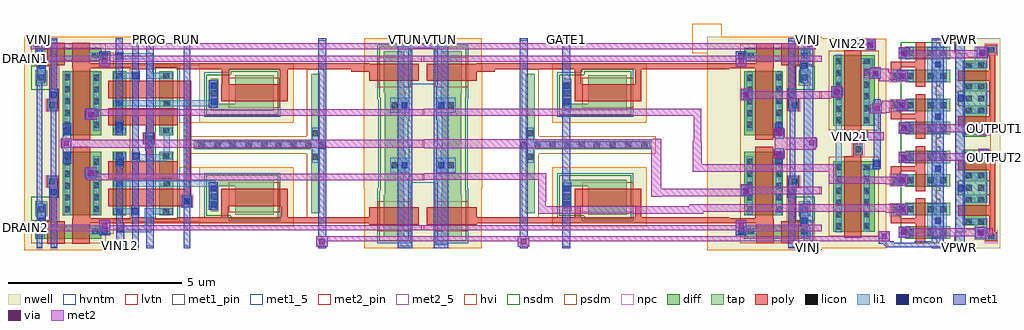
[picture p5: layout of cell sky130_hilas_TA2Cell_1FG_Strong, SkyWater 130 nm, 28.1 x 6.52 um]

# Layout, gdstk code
from math import pi, radians
import gdstk
lib = gdstk.Library(unit=1e-6, precision=1e-09)
def R(c, l, rs):  # rectangles x0, y0, x1, y1
    for r in rs: c.add(gdstk.rectangle(r[:2], r[2:], *l))
def A(c, l, x, y, w, h, nx, ny, dx, dy):  # array of equal rectangles
    R(c, l, [(x+i*dx, y+j*dy, x+i*dx+w, y+j*dy+h) for i in range(nx) for j in range(ny)])
nwell = (64, 20)
diff = (65, 20)
tap = (65, 44)
poly = (66, 20)
licon = (66, 44)
li1 = (67, 20)
mcon = (67, 44)
met1_5 = (68, 5)
met1_pin = (68, 16)
met1 = (68, 20)
via = (68, 44)
met2_5 = (69, 5)
met2_pin = (69, 16)
met2 = (69, 20)
hvi = (75, 20)
nsdm = (93, 44)
psdm = (94, 20)
npc = (95, 20)
hvntm = (125, 20)
lvtn = (125, 44)

sky130_hilas_li2m1 = lib.new_cell('sky130_hilas_li2m1')
R(sky130_hilas_li2m1, li1, [(-0.08,-0.05,0.11,0.18)])
R(sky130_hilas_li2m1, mcon, [(-0.07,-0.02,0.1,0.15)])
R(sky130_hilas_li2m1, met1, [(-0.1,-0.08,0.13,0.21)])

sky130_hilas_li2m2 = lib.new_cell('sky130_hilas_li2m2')
R(sky130_hilas_li2m2, li1, [(-0.13,-0.12,0.19,-0.09), (-0.13,-0.09,0.2,0.1), (-0.13,0.1,0.19,0.14)])
R(sky130_hilas_li2m2, mcon, [(-0.07,-0.08,0.1,0.09)])
R(sky130_hilas_li2m2, met1, [(-0.14,-0.15,0.18,0.17)])
R(sky130_hilas_li2m2, via, [(-0.055,-0.065,0.095,0.085)])
R(sky130_hilas_li2m2, met2, [(-0.14,-0.15,0.17,0.18)])

sky130_hilas_poly2li = lib.new_cell('sky130_hilas_poly2li')
R(sky130_hilas_poly2li, poly, [(-0.09,-0.14,0.18,0.19)])
R(sky130_hilas_poly2li, licon, [(-0.04,-0.06,0.13,0.11)])
R(sky130_hilas_poly2li, li1, [(-0.04,-0.14,0.13,0.19)])
R(sky130_hilas_poly2li, npc, [(-0.14,-0.16,0.23,0.21)])

sky130_hilas_pfetmirror0 = lib.new_cell('sky130_hilas_pFETmirror02')
R(sky130_hilas_pfetmirror0, nwell, [(-0.61,0.89,0.67,3.73)])
R(sky130_hilas_pfetmirror0, diff, [(-0.4,1.36,0.28,2.24), (-0.4,2.65,0.28,3.54)])
R(sky130_hilas_pfetmirror0, tap, [(-0.4,2.24,0.28,2.65)])
R(sky130_hilas_pfetmirror0, poly, [(0.36,1.12,0.53,1.64), (-0.53,1.64,0.53,1.94), (0.36,1.94,0.53,2.95), (-0.53,2.95,0.53,3.25)])
R(sky130_hilas_pfetmirror0, licon, [(-0.315,1.4,-0.145,1.57), (0.045,1.4,0.215,1.57), (-0.315,2.01,-0.145,2.18), (0.045,2.01,0.215,2.18), (-0.315,2.36,-0.145,2.53), (0.045,2.36,0.215,2.53), (-0.32,2.715,-0.15,2.885), (0.045,2.715,0.215,2.885), (-0.325,3.315,-0.155,3.485), (0.035,3.315,0.205,3.485)])
R(sky130_hilas_pfetmirror0, li1, [(-0.05,0.95,0.28,1.12), (-0.05,1.12,0.31,1.4), (-0.4,1.4,0.31,1.57), (-0.4,2.01,0.3,2.89), (-0.41,3.31,0.29,3.49)])
R(sky130_hilas_pfetmirror0, nsdm, [(-0.525,2.24,0.405,2.65)])
R(sky130_hilas_pfetmirror0, psdm, [(-0.525,1.235,0.405,2.24), (-0.525,2.65,0.405,3.665)])
sky130_hilas_pfetmirror0.add(gdstk.Reference(sky130_hilas_poly2li, (0.39,1.08), rotation=3*pi/2))

sky130_hilas_nfet03 = lib.new_cell('sky130_hilas_nFET03')
R(sky130_hilas_nfet03, diff, [(-0.31,-0.06,0.58,0.29)])
R(sky130_hilas_nfet03, poly, [(0,-0.19,0.27,0.42)])
R(sky130_hilas_nfet03, licon, [(-0.245,0.03,-0.075,0.2), (0.345,0.03,0.515,0.2)])
R(sky130_hilas_nfet03, li1, [(-0.26,-0.05,-0.06,0.28), (0.33,-0.05,0.53,0.28)])
R(sky130_hilas_nfet03, nsdm, [(-0.435,-0.185,0.705,0.415)])

sky130_hilas_nmirror03 = lib.new_cell('sky130_hilas_nMirror03')
R(sky130_hilas_nmirror03, diff, [(-0.05,0.07,0.84,0.08), (-0.05,1.09,0.84,1.1)])
R(sky130_hilas_nmirror03, tap, [(0.84,0.07,1.25,0.43), (0.84,0.74,1.25,1.1)])
R(sky130_hilas_nmirror03, poly, [(0.26,-0.06,0.53,-0.05), (0.26,0.07,0.53,0.08), (-0.46,0.43,-0.19,0.51), (-0.46,0.51,0.26,0.56), (-0.46,0.56,0.53,0.66), (0.26,1.09,0.53,1.1), (0.26,1.22,0.53,1.23)])
R(sky130_hilas_nmirror03, licon, [(0.96,0.17,1.13,0.34), (0.96,0.83,1.13,1)])
R(sky130_hilas_nmirror03, li1, [(0.79,0.09,1.14,0.42), (0.59,0.42,1.14,0.75), (0.59,0.75,0.78,0.76), (0.79,0.75,1.14,1.08)])
R(sky130_hilas_nmirror03, met2, [(-0.59,0.14,-0.26,0.35)])
R(sky130_hilas_nmirror03, nsdm, [(-0.175,-0.055,0.84,0.205), (-0.175,0.555,0.84,0.615), (-0.175,0.965,0.84,1.225)])
R(sky130_hilas_nmirror03, psdm, [(0.84,-0.055,1.375,0.08), (0.715,0.08,1.375,1.09), (0.84,1.09,1.375,1.225)])
sky130_hilas_nmirror03.add(gdstk.Reference(sky130_hilas_li2m1, (0.88,0.52)))
sky130_hilas_nmirror03.add(gdstk.Reference(sky130_hilas_li2m2, (-0.15,0.25)))
sky130_hilas_nmirror03.add(gdstk.Reference(sky130_hilas_li2m2, (-0.1,0.9)))
sky130_hilas_nmirror03.add(gdstk.Reference(sky130_hilas_poly2li, (-0.37,0.24)))
sky130_hilas_nmirror03.add(gdstk.Reference(sky130_hilas_nfet03, (0.26,0.14)))
sky130_hilas_nmirror03.add(gdstk.Reference(sky130_hilas_nfet03, (0.26,0.8)))

sky130_hilas_dualtacore0 = lib.new_cell('sky130_hilas_DualTACore01')
R(sky130_hilas_dualtacore0, met1, [(-0.41,-0.22,-0.07,5.5), (0.26,-0.21,0.53,5.49)])
R(sky130_hilas_dualtacore0, met2_5, [(1.44,2.93,1.55,3.16)])
R(sky130_hilas_dualtacore0, met2, [(-1.37,-0.06,1.34,0.17), (-1.36,2.11,1.55,2.33), (-1.1,2.93,1.55,3.16), (-1.36,5.07,1.18,5.3)])
A(sky130_hilas_dualtacore0, nsdm, -1.305, 1.025, 1.015, 0.22, 1, 3, 0, 1.5)
R(sky130_hilas_dualtacore0, psdm, [(0.245,0.05,0.585,0.125), (0.245,0.125,0.355,1.025), (-0.29,1.025,0.355,1.245), (0.245,1.245,0.355,2.525), (-0.29,2.525,0.355,2.555), (-0.29,2.555,1.285,2.685), (-0.29,2.685,0.355,2.745), (0.245,2.745,0.355,4.025), (-0.29,4.025,0.355,4.245), (0.245,4.245,0.355,5.115), (0.245,5.115,0.605,5.205)])
sky130_hilas_dualtacore0.add(gdstk.Reference(sky130_hilas_li2m1, (0.41,1.26)))
sky130_hilas_dualtacore0.add(gdstk.Reference(sky130_hilas_li2m2, (1.06,2.28)))
sky130_hilas_dualtacore0.add(gdstk.Reference(sky130_hilas_li2m2, (0.98,0.03)))
sky130_hilas_dualtacore0.add(gdstk.Reference(sky130_hilas_pfetmirror0, (0.88,-1.11)))
sky130_hilas_dualtacore0.add(gdstk.Reference(sky130_hilas_nmirror03, (-1.13,1.3)))
sky130_hilas_dualtacore0.add(gdstk.Reference(sky130_hilas_nmirror03, (-1.13,0.97), x_reflection=True))
sky130_hilas_dualtacore0.add(gdstk.Reference(sky130_hilas_li2m1, (0.41,3.85)))
sky130_hilas_dualtacore0.add(gdstk.Reference(sky130_hilas_li2m2, (1.07,3)))
sky130_hilas_dualtacore0.add(gdstk.Reference(sky130_hilas_li2m2, (1.02,5.22)))
sky130_hilas_dualtacore0.add(gdstk.Reference(sky130_hilas_pfetmirror0, (0.88,6.35), x_reflection=True))
sky130_hilas_dualtacore0.add(gdstk.Reference(sky130_hilas_nmirror03, (-1.13,3.97), x_reflection=True))
sky130_hilas_dualtacore0.add(gdstk.Reference(sky130_hilas_nmirror03, (-1.13,4.3)))
sky130_hilas_dualtacore0.add(gdstk.Label('output1', (1.495,3.045), layer=69, texttype=5))

sky130_hilas_m12m2 = lib.new_cell('sky130_hilas_m12m2')
R(sky130_hilas_m12m2, met1, [(-0.06,-0.1,0.2,0.22)])
R(sky130_hilas_m12m2, via, [(-0.005,-0.015,0.145,0.135)])
R(sky130_hilas_m12m2, met2, [(-0.09,-0.07,0.23,0.19)])

sky130_hilas_ptransistor = lib.new_cell('sky130_hilas_pTransistorVert01')
R(sky130_hilas_ptransistor, nwell, [(-3.63,-4.44,-1.77,-1.45)])
R(sky130_hilas_ptransistor, diff, [(-3.29,-3.96,-2.1,-1.93)])
R(sky130_hilas_ptransistor, poly, [(-2.98,-4.11,-2.48,-1.75)])
A(sky130_hilas_ptransistor, licon, -2.41, -3.88, 0.17, 0.17, 1, 6, 0, 0.34)
A(sky130_hilas_ptransistor, licon, -3.22, -3.87, 0.17, 0.17, 1, 6, 0, 0.34)
R(sky130_hilas_ptransistor, li1, [(-3.22,-3.97,-3.04,-1.92), (-2.49,-3.88,-2.16,-3.71), (-2.41,-3.71,-2.24,-1.93)])
R(sky130_hilas_ptransistor, hvi, [(-3.63,-4.44,-1.77,-1.45)])
R(sky130_hilas_ptransistor, psdm, [(-3.415,-4.085,-1.975,-1.805)])

c_sky130_hilas_ptransistor = lib.new_cell('sky130_hilas_pTransistorPair')
R(c_sky130_hilas_ptransistor, nwell, [(2.67,-1.69,3.12,-1.46), (1.33,-1.4,3.19,-1.33)])
R(c_sky130_hilas_ptransistor, poly, [(2.27,-4.07,2.48,-4.06), (2.25,-1.04,2.48,-1)])
R(c_sky130_hilas_ptransistor, li1, [(2.49,-4.35,2.56,-4.09), (2.72,-3.66,2.8,-3.52), (2.72,-3.52,2.79,-3.5), (1.74,-1.92,1.92,-0.86), (2.35,-1.46,2.52,-1.33), (2.47,-1.33,2.52,-1.2), (2.79,-0.78,2.87,-0.7), (2.79,-0.7,3.01,-0.61)])
R(c_sky130_hilas_ptransistor, met1, [(2.83,-2.65,3.04,-0.88)])
R(c_sky130_hilas_ptransistor, met2, [(2.01,-4.38,2.89,-4.13), (2.55,-3.52,3.1,-3.27), (2.73,-2.49,3.2,-2.24), (2.25,-1.7,2.68,-1.69), (2.25,-1.69,3.12,-1.46)])
R(c_sky130_hilas_ptransistor, hvi, [(1.33,-1.4,3.19,-1.34)])
c_sky130_hilas_ptransistor.add(gdstk.Reference(sky130_hilas_m12m2, (2.87,-2.44)))
c_sky130_hilas_ptransistor.add(gdstk.Reference(sky130_hilas_li2m2, (2.9,-3.38), rotation=pi))
c_sky130_hilas_ptransistor.add(gdstk.Reference(sky130_hilas_li2m2, (2.48,-1.59)))
c_sky130_hilas_ptransistor.add(gdstk.Reference(sky130_hilas_li2m2, (2.75,-4.21), rotation=pi))
c_sky130_hilas_ptransistor.add(gdstk.Reference(sky130_hilas_li2m2, (1.75,-2.87)))
c_sky130_hilas_ptransistor.add(gdstk.Reference(sky130_hilas_ptransistor, (4.96,0.05)))
c_sky130_hilas_ptransistor.add(gdstk.Reference(sky130_hilas_poly2li, (2.36,-4.26)))
c_sky130_hilas_ptransistor.add(gdstk.Reference(sky130_hilas_li2m1, (2.91,-0.85)))
c_sky130_hilas_ptransistor.add(gdstk.Reference(sky130_hilas_ptransistor, (4.96,3.1)))
c_sky130_hilas_ptransistor.add(gdstk.Reference(sky130_hilas_poly2li, (2.34,-1.23)))

sky130_hilas_tuncap01 = lib.new_cell('sky130_hilas_TunCap01')
R(sky130_hilas_tuncap01, nwell, [(-14.51,-4,-12.78,-2.1)])
R(sky130_hilas_tuncap01, tap, [(-13.94,-3.67,-13.35,-2.47)])
R(sky130_hilas_tuncap01, poly, [(-14.36,-3.33,-12.93,-2.83)])
R(sky130_hilas_tuncap01, hvi, [(-14.51,-4,-12.78,-2.1)])
R(sky130_hilas_tuncap01, nsdm, [(-14.065,-3.795,-13.225,-2.345)])
R(sky130_hilas_tuncap01, hvntm, [(-14.125,-3.855,-13.165,-2.285)])
R(sky130_hilas_tuncap01, lvtn, [(-14.12,-3.51,-13.17,-2.65)])

sky130_hilas_wellcontact = lib.new_cell('sky130_hilas_wellContact')
R(sky130_hilas_wellcontact, nwell, [(-14.48,-4.4,-12.75,-2.56)])
R(sky130_hilas_wellcontact, tap, [(-13.94,-4.05,-13.35,-3.31)])
R(sky130_hilas_wellcontact, licon, [(-13.735,-3.82,-13.565,-3.65)])
R(sky130_hilas_wellcontact, li1, [(-14.06,-3.95,-13.51,-3.52)])
R(sky130_hilas_wellcontact, mcon, [(-14.01,-3.82,-13.84,-3.65)])
R(sky130_hilas_wellcontact, met1, [(-14.12,-4.41,-13.73,-2.55)])
R(sky130_hilas_wellcontact, hvi, [(-14.48,-4.4,-12.75,-2.56)])
R(sky130_hilas_wellcontact, nsdm, [(-14.065,-4.175,-13.225,-3.185)])

sky130_hilas_fgvaractorc = lib.new_cell('sky130_hilas_FGVaractorCapacitor02')
R(sky130_hilas_fgvaractorc, nwell, [(-10.05,-3.8,-7.33,-2.15), (-10.05,-2.15,-7.34,-2.11)])
R(sky130_hilas_fgvaractorc, tap, [(-9.01,-3.47,-7.9,-2.65), (-9.72,-3.37,-9.5,-2.65), (-9.72,-2.65,-7.9,-2.46)])
R(sky130_hilas_fgvaractorc, poly, [(-9.41,-3.22,-7.49,-2.72)])
R(sky130_hilas_fgvaractorc, licon, [(-9.715,-3.04,-9.545,-2.87)])
R(sky130_hilas_fgvaractorc, li1, [(-9.75,-3.28,-9.52,-2.59)])
R(sky130_hilas_fgvaractorc, mcon, [(-9.72,-3.25,-9.55,-3.08), (-9.72,-2.8,-9.55,-2.63)])
R(sky130_hilas_fgvaractorc, met1, [(-9.77,-3.33,-9.51,-2.54)])
R(sky130_hilas_fgvaractorc, hvi, [(-10.05,-3.8,-7.33,-2.15), (-10.05,-2.15,-7.34,-2.11)])
R(sky130_hilas_fgvaractorc, nsdm, [(-9.135,-3.595,-7.775,-3.495), (-9.845,-3.495,-7.775,-2.335)])
R(sky130_hilas_fgvaractorc, hvntm, [(-9.195,-3.655,-7.715,-3.555), (-9.905,-3.555,-7.715,-2.275)])
R(sky130_hilas_fgvaractorc, lvtn, [(-9.19,-3.4,-7.72,-2.54)])

sky130_hilas_horiztransc = lib.new_cell('sky130_hilas_horizTransCell01')
R(sky130_hilas_horiztransc, nwell, [(-3.63,0.42,-0.33,3.59)])
R(sky130_hilas_horiztransc, diff, [(-2.56,0.75,-0.66,1.11), (-2.56,1.42,-1.45,3.26)])
R(sky130_hilas_horiztransc, tap, [(-1,1.39,-0.66,1.83)])
R(sky130_hilas_horiztransc, poly, [(-2.22,0.62,-1.72,1.19), (-1.5,0.62,-1,1.25), (-4.76,1.19,-1.72,1.33), (-1.29,1.25,-1,1.27), (-1.29,1.27,-1.06,1.93), (-4.76,1.33,-1.73,1.34), (-4.76,1.34,-3,1.36), (-2.24,1.34,-1.73,3.39), (-1.33,1.93,-1.06,2.22), (-1.33,2.22,-0.98,2.56)])
A(sky130_hilas_horiztransc, licon, -1.66, 1.51, 0.17, 0.17, 1, 5, 0, 0.34)
A(sky130_hilas_horiztransc, licon, -2.49, 1.52, 0.17, 0.17, 1, 5, 0, 0.34)
R(sky130_hilas_horiztransc, licon, [(-2.465,0.88,-2.295,1.05), (-0.915,0.88,-0.745,1.05), (-0.915,1.515,-0.745,1.685), (-1.2,2.31,-1.03,2.48)])
R(sky130_hilas_horiztransc, li1, [(-0.93,0.8,-0.73,1.15), (-2.74,0.88,-2.21,1.05), (-0.93,1.15,-0.72,1.18), (-0.94,1.18,-0.72,1.76), (-1.66,1.43,-1.49,3.04), (-2.49,1.44,-2.32,3.13), (-0.93,1.76,-0.72,1.77), (-1.29,1.93,-1.1,1.94), (-1.29,1.94,-1.09,2.23), (-1.3,2.23,-1.01,2.56), (-1.66,3.04,-1.48,3.23)])
R(sky130_hilas_horiztransc, mcon, [(-2.735,0.88,-2.565,1.05), (-0.92,1.18,-0.75,1.35), (-1.275,2.01,-1.105,2.18), (-1.655,3.05,-1.485,3.22)])
R(sky130_hilas_horiztransc, met1, [(-1.29,0.48,-1.1,1.93), (-0.85,0.48,-0.69,1.12), (-2.81,0.85,-2.5,1.29), (-0.96,1.12,-0.69,1.67), (-0.96,1.67,-0.68,1.72), (-0.85,1.72,-0.68,1.81), (-0.85,1.81,-0.69,3.5), (-1.29,1.93,-1.07,1.96), (-1.31,1.96,-1.06,2.23), (-1.3,2.23,-1.06,2.24), (-1.3,2.24,-1.07,2.48), (-1.26,2.48,-1.1,3.5), (-1.69,2.91,-1.45,3.29)])
R(sky130_hilas_horiztransc, via, [(-2.725,1.055,-2.575,1.205)])
R(sky130_hilas_horiztransc, met2, [(-2.81,0.96,-2.5,0.97), (-2.81,0.97,-0.33,1.15), (-2.81,1.15,-2.5,1.29)])
R(sky130_hilas_horiztransc, hvi, [(-3.63,0.42,-0.33,3.59)])
R(sky130_hilas_horiztransc, nsdm, [(-1.125,1.265,-0.535,1.955)])
R(sky130_hilas_horiztransc, psdm, [(-2.685,0.625,-0.535,1.235), (-2.685,1.235,-1.325,3.385)])
R(sky130_hilas_horiztransc, npc, [(-1.3,2.21,-0.93,2.58)])

sky130_hilas_fgbias2x1ce = lib.new_cell('sky130_hilas_FGBias2x1cell')
R(sky130_hilas_fgbias2x1ce, nwell, [(-3.37,-2.42,-2.81,0), (6.61,2.19,6.8,2.22), (4.26,2.22,7.57,2.23)])
R(sky130_hilas_fgbias2x1ce, tap, [(-0.95,-2.81,-0.7,-0.97), (-3.37,-2.42,-2.81,0), (-0.95,-0.97,2.67,-0.72), (-0.95,-0.72,-0.7,1.21)])
R(sky130_hilas_fgbias2x1ce, poly, [(-2.8,-3.1,3.31,-2.93), (0.46,-2.93,0.63,-2.6), (2.2,-2.93,2.37,-2.6), (2.2,0.9,2.37,1.34), (0.45,0.91,0.64,1.34), (-2.37,1.26,-1.85,1.34), (-2.37,1.34,3.32,1.51)])
R(sky130_hilas_fgbias2x1ce, licon, [(-0.91,-1.27,-0.74,-1.1), (-0.7,-0.93,-0.53,-0.76), (-0.27,-0.93,-0.1,-0.76), (0.17,-0.93,0.34,-0.76), (0.57,-0.93,0.74,-0.76), (1.01,-0.93,1.18,-0.76), (1.91,-0.93,2.08,-0.76), (2.37,-0.93,2.54,-0.76), (1.47,-0.92,1.64,-0.75), (-0.91,-0.59,-0.74,-0.42)])
R(sky130_hilas_fgbias2x1ce, li1, [(0.11,-1.97,0.34,-1.93), (-0.92,-1.35,-0.73,-0.93), (-0.92,-0.93,2.63,-0.75), (-0.92,-0.75,-0.73,-0.34)])
R(sky130_hilas_fgbias2x1ce, met1_pin, [(-3.61,-3.82,-3.19,-3.7), (-1.13,-3.82,-0.9,-3.76), (0.09,-3.82,0.32,-3.76), (6.61,-3.82,6.8,-3.77), (7.05,-3.82,7.33,-3.77), (0.09,2.15,0.32,2.23), (-3.61,2.16,-3.19,2.23), (-1.13,2.16,-0.9,2.23), (7.05,2.16,7.33,2.23), (6.61,2.19,6.8,2.23)])
R(sky130_hilas_fgbias2x1ce, met1, [(-3.61,-3.82,-3.19,2.23), (-1.13,-3.82,-0.9,2.23), (0.09,-3.82,0.32,2.23), (6.61,-3.82,6.8,-3.77), (7.05,-3.82,7.33,2.23), (6.61,2.19,6.8,2.23)])
R(sky130_hilas_fgbias2x1ce, met2_pin, [(-3.96,-3.3,-3.9,-3.15), (7.5,-2.26,7.57,-2.05), (7.49,0.49,7.57,0.71), (-3.96,1.55,-3.89,1.73)])
R(sky130_hilas_fgbias2x1ce, met2, [(-3.96,-3.3,5.14,-3.2), (-3.96,-3.2,5.26,-3.15), (5.1,-3.15,5.26,-3.13), (5.53,-2.26,7.57,-2.05), (6.22,-0.98,7.4,-0.63), (5.54,0.49,7.57,0.71), (-3.96,1.55,5.16,1.73)])
R(sky130_hilas_fgbias2x1ce, hvi, [(-3.555,-2.605,-2.625,0.185), (3.845,1.805,4.27,2.28), (3.845,2.28,4.685,2.645)])
R(sky130_hilas_fgbias2x1ce, nsdm, [(-3.495,-2.545,-2.685,-2.155), (-3.505,-2.155,-2.685,-1.865), (-3.495,-1.865,-2.685,0.125)])
R(sky130_hilas_fgbias2x1ce, psdm, [(-1.075,-2.935,-0.575,-1.095), (-1.075,-1.095,2.795,-0.595), (5.215,-0.905,6.575,-0.685), (-1.075,-0.595,-0.575,1.335)])
R(sky130_hilas_fgbias2x1ce, hvntm, [(-3.565,-2.095,-2.625,-1.925), (-3.585,-1.925,-2.625,0.475), (-3.585,0.475,-3.565,0.915)])
sky130_hilas_fgbias2x1ce.add(gdstk.Reference(sky130_hilas_tuncap01, (10.56,0.19)))
sky130_hilas_fgbias2x1ce.add(gdstk.Reference(sky130_hilas_tuncap01, (10.56,4.33)))
sky130_hilas_fgbias2x1ce.add(gdstk.Reference(sky130_hilas_li2m1, (-1.03,-0.92)))
sky130_hilas_fgbias2x1ce.add(gdstk.Reference(sky130_hilas_wellcontact, (10.54,2.31)))
sky130_hilas_fgbias2x1ce.add(gdstk.Reference(sky130_hilas_wellcontact, (10.54,4.04)))
sky130_hilas_fgbias2x1ce.add(gdstk.Reference(sky130_hilas_fgvaractorc, (9.86,0.62)))
sky130_hilas_fgbias2x1ce.add(gdstk.Reference(sky130_hilas_fgvaractorc, (9.86,-2.31), x_reflection=True))
sky130_hilas_fgbias2x1ce.add(gdstk.Reference(sky130_hilas_horiztransc, (7.9,-4.29)))
sky130_hilas_fgbias2x1ce.add(gdstk.Reference(sky130_hilas_horiztransc, (7.9,2.7), x_reflection=True))
sky130_hilas_fgbias2x1ce.add(gdstk.Reference(sky130_hilas_m12m2, (6.27,-1.16)))
sky130_hilas_fgbias2x1ce.add(gdstk.Reference(sky130_hilas_m12m2, (6.27,-0.56)))
sky130_hilas_fgbias2x1ce.add(gdstk.Reference(sky130_hilas_m12m2, (7.21,-0.84)))
sky130_hilas_fgbias2x1ce.add(gdstk.Reference(sky130_hilas_li2m2, (5.38,-2.16)))
sky130_hilas_fgbias2x1ce.add(gdstk.Reference(sky130_hilas_li2m2, (5.38,0.6)))
sky130_hilas_fgbias2x1ce.add(gdstk.Label('VTUN', (-3.4,2.195), layer=68, texttype=16))
sky130_hilas_fgbias2x1ce.add(gdstk.Label('VTUN', (-3.4,-3.76), layer=68, texttype=16))
sky130_hilas_fgbias2x1ce.add(gdstk.Label('VGND', (-1.015,2.195), layer=68, texttype=16))
sky130_hilas_fgbias2x1ce.add(gdstk.Label('VGND', (-1.015,-3.79), layer=68, texttype=16))
sky130_hilas_fgbias2x1ce.add(gdstk.Label('GATE_CONTROL', (0.205,2.19), layer=68, texttype=16))
sky130_hilas_fgbias2x1ce.add(gdstk.Label('GATE_CONTROL', (0.205,-3.79), layer=68, texttype=16))
sky130_hilas_fgbias2x1ce.add(gdstk.Label('DRAIN1', (-3.925,1.64), layer=69, texttype=16))
sky130_hilas_fgbias2x1ce.add(gdstk.Label('DRAIN4', (-3.93,-3.225), layer=69, texttype=16))
sky130_hilas_fgbias2x1ce.add(gdstk.Label('VINJ', (7.19,2.195), layer=68, texttype=16))
sky130_hilas_fgbias2x1ce.add(gdstk.Label('OUTPUT1', (7.53,0.6), layer=69, texttype=16))
sky130_hilas_fgbias2x1ce.add(gdstk.Label('OUTPUT2', (7.535,-2.155), layer=69, texttype=16))
sky130_hilas_fgbias2x1ce.add(gdstk.Label('GATECOL', (6.705,2.21), layer=68, texttype=16))
sky130_hilas_fgbias2x1ce.add(gdstk.Label('GATECOL', (6.705,-3.795), layer=68, texttype=16))
sky130_hilas_fgbias2x1ce.add(gdstk.Label('VINJ', (7.19,-3.795), layer=68, texttype=16))

sky130_hilas_poly2m1 = lib.new_cell('sky130_hilas_poly2m1')
R(sky130_hilas_poly2m1, poly, [(-0.09,-0.08,0.24,0.25)])
R(sky130_hilas_poly2m1, licon, [(-0.01,0,0.16,0.17)])
R(sky130_hilas_poly2m1, li1, [(-0.01,-0.2,0.16,-0.18), (-0.03,-0.18,0.18,0.25)])
R(sky130_hilas_poly2m1, mcon, [(-0.01,-0.2,0.16,-0.03)])
R(sky130_hilas_poly2m1, met1, [(-0.04,-0.26,0.19,0.03), (-0.03,0.03,0.19,0.25)])
R(sky130_hilas_poly2m1, npc, [(-0.11,-0.1,0.26,0.27)])

c_sky130_hilas_horiztransc = lib.new_cell('sky130_hilas_horizTransCell01a')
R(c_sky130_hilas_horiztransc, nwell, [(-3.64,0.42,-0.33,3.59)])
R(c_sky130_hilas_horiztransc, diff, [(-2.56,0.75,-0.66,1.11), (-4.63,1.42,-4.23,3.26), (-3.27,1.42,-2.88,3.26), (-2.56,1.42,-1.45,3.26)])
R(c_sky130_hilas_horiztransc, tap, [(-1,1.39,-0.66,1.83)])
R(c_sky130_hilas_horiztransc, poly, [(-2.22,0.6,-1.72,1.19), (-1.5,0.6,-1,1.25), (-4.76,1.19,-1.72,1.34), (-1.29,1.25,-1,1.27), (-1.29,1.27,-1.06,1.93), (-4.08,1.34,-3.42,1.36), (-2.24,1.34,-1.73,3.39), (-4.76,1.69,-2.75,2.19), (-1.33,1.93,-1.06,2.22), (-1.33,2.22,-1.04,2.23), (-1.33,2.23,-0.98,2.56), (-4.76,2.48,-2.75,2.98)])
A(c_sky130_hilas_horiztransc, licon, -3.16, 1.46, 0.17, 0.17, 1, 3, 0, 0.79)
A(c_sky130_hilas_horiztransc, licon, -1.66, 1.51, 0.17, 0.17, 1, 5, 0, 0.34)
A(c_sky130_hilas_horiztransc, licon, -2.49, 1.52, 0.17, 0.17, 1, 5, 0, 0.34)
R(c_sky130_hilas_horiztransc, licon, [(-2.465,0.88,-2.295,1.05), (-0.915,0.88,-0.745,1.05), (-4.515,1.46,-4.345,1.63), (-0.915,1.515,-0.745,1.685), (-4.52,2.25,-4.35,2.42), (-1.21,2.31,-1.04,2.48), (-4.515,3.04,-4.345,3.21)])
A(c_sky130_hilas_horiztransc, li1, -3.24, 1.46, 0.33, 0.17, 1, 3, 0, 0.79)
R(c_sky130_hilas_horiztransc, li1, [(-0.93,0.8,-0.73,1.15), (-2.74,0.88,-2.21,1.05), (-0.93,1.15,-0.72,1.18), (-0.94,1.18,-0.72,1.76), (-1.66,1.43,-1.49,3.04), (-2.49,1.44,-2.32,3.13), (-4.61,1.46,-4.26,1.63), (-0.93,1.76,-0.72,1.77), (-1.29,1.93,-1.1,1.94), (-1.29,1.94,-1.09,2.23), (-1.3,2.23,-1.03,2.56), (-4.61,2.25,-4.26,2.42), (-4.6,3.04,-4.26,3.21), (-1.66,3.04,-1.48,3.23)])
R(c_sky130_hilas_horiztransc, mcon, [(-2.735,0.88,-2.565,1.05), (-0.92,1.18,-0.75,1.35), (-1.275,2.01,-1.105,2.18), (-1.655,3.05,-1.485,3.22)])
R(c_sky130_hilas_horiztransc, met1, [(-1.29,0.48,-1.1,1.93), (-0.85,0.48,-0.69,1.12), (-2.81,0.85,-2.5,1.29), (-0.96,1.12,-0.69,1.67), (-0.96,1.67,-0.68,1.72), (-0.85,1.72,-0.68,1.81), (-0.85,1.81,-0.69,3.5), (-1.29,1.93,-1.07,1.96), (-1.31,1.96,-1.06,2.23), (-1.3,2.23,-1.06,2.24), (-1.3,2.24,-1.07,2.48), (-1.26,2.48,-1.1,3.5), (-1.69,2.91,-1.45,3.29)])
R(c_sky130_hilas_horiztransc, via, [(-2.725,1.055,-2.575,1.205)])
R(c_sky130_hilas_horiztransc, met2, [(-2.81,0.96,-2.5,0.97), (-2.81,0.97,-0.33,1.15), (-2.81,1.15,-2.5,1.29)])
R(c_sky130_hilas_horiztransc, hvi, [(-3.64,0.42,-0.33,1.235), (-4.815,1.235,-0.33,3.445), (-3.64,3.445,-0.33,3.59)])
R(c_sky130_hilas_horiztransc, nsdm, [(-1.125,1.265,-0.535,1.955), (-4.755,1.295,-4.105,3.385)])
R(c_sky130_hilas_horiztransc, psdm, [(-2.685,0.625,-0.535,0.885), (-2.91,0.885,-0.535,1.235), (-2.91,1.235,-1.325,1.295), (-3.395,1.295,-1.325,3.385)])
R(c_sky130_hilas_horiztransc, npc, [(-1.31,2.21,-0.94,2.58)])
R(c_sky130_hilas_horiztransc, hvntm, [(-4.815,1.235,-4.045,3.445)])

sky130_hilas_fgtrans2x1c = lib.new_cell('sky130_hilas_FGtrans2x1cell')
R(sky130_hilas_fgtrans2x1c, nwell, [(-3.61,-3.81,-3.19,-3.74), (-3.37,-2.42,-2.81,0)])
R(sky130_hilas_fgtrans2x1c, tap, [(-0.95,-2.81,-0.7,-0.97), (-3.37,-2.42,-2.81,0), (-0.95,-0.97,2.68,-0.72), (-0.95,-0.72,-0.7,1.21)])
R(sky130_hilas_fgtrans2x1c, poly, [(-2.8,-3.1,3.31,-2.95), (-2.8,-2.95,3.17,-2.93), (-0.03,-2.93,0.17,-2.6), (1.69,-2.93,1.89,-2.6), (2.72,-2.63,3,-2.6), (2.72,-2.6,3.16,-2.33), (2.76,-2.33,3.16,-2.1), (2.76,-2.1,2.91,0.51), (3.84,-1.31,4.06,-0.28), (3.84,-0.28,3.98,-0.27), (2.76,0.51,3.14,1.01), (-0.02,0.91,0.2,1.34), (1.66,0.91,1.88,1.34), (-2.37,1.26,-1.85,1.34), (-2.37,1.34,3.19,1.36), (-2.37,1.36,3.31,1.51)])
R(sky130_hilas_fgtrans2x1c, licon, [(2.8,-2.55,2.97,-2.38), (-0.91,-1.27,-0.74,-1.1), (-0.7,-0.93,-0.53,-0.76), (-0.27,-0.93,-0.1,-0.76), (0.17,-0.93,0.34,-0.76), (0.57,-0.93,0.74,-0.76), (1.01,-0.93,1.18,-0.76), (1.91,-0.93,2.08,-0.76), (2.37,-0.93,2.54,-0.76), (1.47,-0.92,1.64,-0.75), (-0.91,-0.59,-0.74,-0.42)])
R(sky130_hilas_fgtrans2x1c, li1, [(3.91,-3.35,4.87,-3.17), (3.91,-3.17,4.1,-2.83), (3.64,-2.83,4.1,-2.82), (4.45,-2.83,4.66,-2.66), (3.63,-2.82,4.1,-2.67), (3.64,-2.67,4.1,-2.66), (2.8,-2.64,2.97,-2.57), (2.78,-2.57,2.99,-2.36), (2.8,-2.36,2.97,-2.3), (2.06,-2.04,3.3,-1.87), (3.62,-2.04,4.7,-1.87), (-0.92,-1.35,-0.73,-0.93), (3.47,-1.31,4.31,-1.19), (4.64,-1.25,4.69,-1.08), (3.54,-1.19,4.27,-1.15), (3.56,-1.15,4.27,-1.11), (3.56,-1.11,3.64,-1.1), (4.22,-1.11,4.27,-1.1), (3.38,-1.08,3.55,-0.51), (-0.92,-0.93,2.63,-0.75), (-0.92,-0.75,-0.73,-0.34), (4.64,-0.51,4.72,-0.34), (2.21,0.28,3.29,0.45), (3.62,0.28,4.7,0.45), (3.64,1.07,4.03,1.24), (4.44,1.07,4.66,1.24), (3.86,1.24,4.03,1.63), (3.86,1.63,4.74,1.8)])
R(sky130_hilas_fgtrans2x1c, mcon, [(2.8,-2.55,2.97,-2.38)])
R(sky130_hilas_fgtrans2x1c, met1_pin, [(-1.13,-3.82,-0.9,-3.75), (2.79,-3.82,2.97,-3.75), (3.84,-3.82,4.05,-3.75), (6.61,-3.82,6.8,-3.77), (7.05,-3.82,7.21,-3.77), (-3.61,-3.81,-3.19,-3.74), (4.27,-3.81,4.46,-3.76), (4.69,-3.81,4.92,-3.57), (4.72,1.91,4.93,2.22), (-3.61,2.16,-3.19,2.23), (-1.13,2.16,-0.9,2.23), (2.79,2.16,2.97,2.23), (3.84,2.17,4.05,2.23), (4.27,2.17,4.46,2.23), (6.61,2.17,6.8,2.23)])
R(sky130_hilas_fgtrans2x1c, met1, [(-3.61,-3.82,-3.19,2.23), (-1.13,-3.82,-0.9,2.23), (2.79,-3.82,2.97,-2.64), (3.84,-3.82,4.05,2.23), (4.27,-3.82,4.46,2.23), (4.69,-3.82,4.92,-3.32), (6.61,-3.82,6.8,-3.77), (7.05,-3.82,7.21,-3.77), (4.72,-3.32,4.91,-1.07), (5.22,-3.32,5.23,-3.31), (2.74,-2.64,3.03,-2.3), (2.79,-2.3,2.97,2.23), (6.21,-1.01,6.45,-0.59), (4.72,-0.56,4.93,2.23), (6.61,2.17,6.8,2.23), (7.05,2.18,7.21,2.23)])
R(sky130_hilas_fgtrans2x1c, met2_pin, [(7.49,-3.32,7.57,-3.14), (-3.95,-3.3,-3.91,-3.15), (-3.95,-1.86,-3.89,-1.67), (-3.95,-0.92,-3.89,-0.69), (-3.95,0,-3.89,0.19), (-3.95,1.55,-3.89,1.73), (7.49,1.55,7.57,1.73)])
R(sky130_hilas_fgtrans2x1c, met2, [(7.49,-3.32,7.57,-3.14), (-3.95,-3.3,5.14,-3.2), (-3.95,-3.2,5.26,-3.15), (5.1,-3.15,5.26,-3.13), (-3.95,-1.86,5.77,-1.67), (-3.95,-0.92,6.22,-0.73), (-3.95,-0.73,6.21,-0.69), (-3.95,0,5.76,0.19), (-3.95,1.55,5.16,1.73), (7.49,1.55,7.57,1.73), (4.84,1.73,5.16,1.75)])
R(sky130_hilas_fgtrans2x1c, hvi, [(2.53,-3.055,3.085,-1.49), (-3.555,-2.605,-2.625,0.185), (3.085,-0.845,4.26,-0.745), (2.53,-0.2,3.085,1.465)])
R(sky130_hilas_fgtrans2x1c, nsdm, [(-3.495,-2.545,-2.685,-2.155), (-3.505,-2.155,-2.685,-1.865), (-3.495,-1.865,-2.685,0.125), (3.145,-0.905,3.795,-0.685)])
R(sky130_hilas_fgtrans2x1c, psdm, [(-1.075,-2.935,-0.575,-1.095), (-1.075,-1.095,2.805,-0.595), (4.505,-0.905,6.575,-0.685), (-1.075,-0.595,-0.575,1.335)])
R(sky130_hilas_fgtrans2x1c, npc, [(2.7,-2.65,3.07,-2.28)])
R(sky130_hilas_fgtrans2x1c, hvntm, [(-3.565,-2.095,-2.625,-1.925), (-3.585,-1.925,-2.625,0.475), (3.085,-0.845,3.855,-0.745), (-3.585,0.475,-3.565,0.915)])
sky130_hilas_fgtrans2x1c.add(gdstk.Reference(sky130_hilas_tuncap01, (10.56,4.33)))
sky130_hilas_fgtrans2x1c.add(gdstk.Reference(sky130_hilas_tuncap01, (10.56,0.19)))
sky130_hilas_fgtrans2x1c.add(gdstk.Reference(sky130_hilas_fgvaractorc, (-7.52,0.62), rotation=pi, x_reflection=True))
sky130_hilas_fgtrans2x1c.add(gdstk.Reference(sky130_hilas_fgvaractorc, (-7.52,-2.31), rotation=pi))
sky130_hilas_fgtrans2x1c.add(gdstk.Reference(sky130_hilas_wellcontact, (10.54,4.04)))
sky130_hilas_fgtrans2x1c.add(gdstk.Reference(sky130_hilas_wellcontact, (10.54,2.31)))
sky130_hilas_fgtrans2x1c.add(gdstk.Reference(sky130_hilas_li2m1, (-1.03,-0.92)))
sky130_hilas_fgtrans2x1c.add(gdstk.Reference(sky130_hilas_poly2m1, (3.89,-0.74)))
sky130_hilas_fgtrans2x1c.add(gdstk.Reference(sky130_hilas_li2m1, (4.34,-1.23)))
sky130_hilas_fgtrans2x1c.add(gdstk.Reference(sky130_hilas_li2m1, (4.8,-1.41)))
sky130_hilas_fgtrans2x1c.add(gdstk.Reference(sky130_hilas_li2m1, (4.35,-2.81)))
sky130_hilas_fgtrans2x1c.add(gdstk.Reference(sky130_hilas_li2m1, (4.78,-3.32)))
sky130_hilas_fgtrans2x1c.add(gdstk.Reference(sky130_hilas_li2m1, (4.81,1.65)))
sky130_hilas_fgtrans2x1c.add(gdstk.Reference(sky130_hilas_li2m1, (4.34,1.09)))
sky130_hilas_fgtrans2x1c.add(gdstk.Reference(sky130_hilas_li2m1, (4.81,-0.34)))
sky130_hilas_fgtrans2x1c.add(gdstk.Reference(c_sky130_hilas_horiztransc, (7.9,2.7), x_reflection=True))
sky130_hilas_fgtrans2x1c.add(gdstk.Reference(c_sky130_hilas_horiztransc, (7.9,-4.29)))
sky130_hilas_fgtrans2x1c.add(gdstk.Reference(sky130_hilas_m12m2, (6.28,-0.85)))
sky130_hilas_fgtrans2x1c.add(gdstk.Reference(sky130_hilas_li2m2, (5.62,0.03)))
sky130_hilas_fgtrans2x1c.add(gdstk.Reference(sky130_hilas_li2m2, (5.63,-1.66)))
sky130_hilas_fgtrans2x1c.add(gdstk.Label('COLSEL1', (6.705,2.2), layer=68, texttype=16))
sky130_hilas_fgtrans2x1c.add(gdstk.Label('COLSEL1', (6.705,-3.795), layer=68, texttype=16))
sky130_hilas_fgtrans2x1c.add(gdstk.Label('VINJ', (7.13,-3.795), layer=68, texttype=16))
sky130_hilas_fgtrans2x1c.add(gdstk.Label('DRAIN1', (7.53,1.64), layer=69, texttype=16))
sky130_hilas_fgtrans2x1c.add(gdstk.Label('DRAIN2', (7.53,-3.23), layer=69, texttype=16))
sky130_hilas_fgtrans2x1c.add(gdstk.Label('PROG', (3.945,-3.785), layer=68, texttype=16))
sky130_hilas_fgtrans2x1c.add(gdstk.Label('PROG', (3.945,2.2), layer=68, texttype=16))
sky130_hilas_fgtrans2x1c.add(gdstk.Label('RUN', (2.88,-3.785), layer=68, texttype=16))
sky130_hilas_fgtrans2x1c.add(gdstk.Label('RUN', (2.88,2.195), layer=68, texttype=16))
sky130_hilas_fgtrans2x1c.add(gdstk.Label('VIN2', (4.805,-3.69), layer=68, texttype=16))
sky130_hilas_fgtrans2x1c.add(gdstk.Label('VIN1', (4.825,2.065), layer=68, texttype=16))
sky130_hilas_fgtrans2x1c.add(gdstk.Label('GATE1', (4.365,2.2), layer=68, texttype=16))
sky130_hilas_fgtrans2x1c.add(gdstk.Label('GATE1', (4.365,-3.785), layer=68, texttype=16))
sky130_hilas_fgtrans2x1c.add(gdstk.Label('VGND', (-1.015,2.195), layer=68, texttype=16))
sky130_hilas_fgtrans2x1c.add(gdstk.Label('VGND', (-1.015,-3.785), layer=68, texttype=16))
sky130_hilas_fgtrans2x1c.add(gdstk.Label('VTUN', (-3.4,2.195), layer=68, texttype=16))
sky130_hilas_fgtrans2x1c.add(gdstk.Label('VTUN', (-3.4,-3.775), layer=68, texttype=16))
sky130_hilas_fgtrans2x1c.add(gdstk.Label('DRAIN2', (-3.93,-3.225), layer=69, texttype=16))
sky130_hilas_fgtrans2x1c.add(gdstk.Label('DRAIN1', (-3.92,1.64), layer=69, texttype=16))
sky130_hilas_fgtrans2x1c.add(gdstk.Label('COL1', (-3.92,-0.805), layer=69, texttype=16))
sky130_hilas_fgtrans2x1c.add(gdstk.Label('ROW1', (-3.92,0.095), layer=69, texttype=16))
sky130_hilas_fgtrans2x1c.add(gdstk.Label('ROW2', (-3.92,-1.765), layer=69, texttype=16))

sky130_hilas_ta2cell_1fg = lib.new_cell('sky130_hilas_TA2Cell_1FG_Strong')
R(sky130_hilas_ta2cell_1fg, nwell, [(0.65,1.4,1.93,1.59), (-25.97,7.13,-25.65,7.43), (-3.7,7.13,-3.38,7.43), (0.65,7.27,1.93,7.45), (-26.17,7.44,-22.86,7.45), (-3.2,7.44,-1.86,7.45)])
R(sky130_hilas_ta2cell_1fg, met1_5, [(-15.41,7.38,-14.99,7.45)])
R(sky130_hilas_ta2cell_1fg, met1_pin, [(-4.16,1.4,-3.97,1.45), (-3.72,1.4,-3.44,1.45), (-0.03,1.4,0.31,1.46), (0.64,1.4,0.91,1.46), (-23.52,1.41,-23.29,1.53), (-23.53,7.34,-23.32,7.45), (-23.06,7.37,-22.87,7.45), (-10.68,7.37,-10.45,7.45), (-4.16,7.37,-3.97,7.45), (-3.72,7.37,-3.44,7.45), (-21.57,7.38,-21.39,7.45), (-14.38,7.38,-13.96,7.45), (-25.81,7.39,-25.65,7.45), (-25.4,7.39,-25.21,7.45), (-22.65,7.39,-22.44,7.45), (-0.03,7.39,0.31,7.45), (0.63,7.39,0.91,7.45)])
R(sky130_hilas_ta2cell_1fg, met1, [(-4.16,1.4,-3.97,1.45), (-3.72,1.4,-3.44,1.45), (-0.03,1.4,0.31,1.44), (0.64,1.4,0.91,1.61), (-23.52,1.41,-23.29,1.53), (-1.28,1.43,-0.32,1.44), (-1.35,1.44,0.31,1.46), (-17.75,1.45,-17.43,1.75), (-11.95,1.45,-11.63,1.75), (-1.38,1.46,0.31,1.49), (-1.41,1.49,0.31,1.54), (-1.56,1.54,0.31,1.57), (-1.56,1.57,-1.13,1.6), (-0.53,1.57,0.31,1.59), (-0.53,1.59,-0.02,1.6), (-1.56,1.6,-1.24,1.9), (-25.97,7.13,-25.65,7.43), (-3.7,7.13,-3.38,7.37), (-15.41,7.16,-13.96,7.3), (-15.41,7.3,-14.99,7.45), (-14.38,7.3,-13.96,7.45), (0.63,7.3,0.91,7.45), (-0.03,7.31,0.31,7.45), (-23.53,7.34,-23.32,7.45), (-23.06,7.37,-22.87,7.45), (-10.68,7.37,-10.45,7.45), (-4.16,7.37,-3.97,7.45), (-3.72,7.37,-3.38,7.43), (-21.57,7.38,-21.39,7.45), (-25.4,7.39,-25.21,7.45), (-22.65,7.39,-22.44,7.45), (-25.81,7.43,-25.65,7.45), (-3.72,7.43,-3.44,7.45)])
R(sky130_hilas_ta2cell_1fg, via, [(-17.665,1.525,-17.515,1.675), (-11.865,1.525,-11.715,1.675), (-1.475,1.675,-1.325,1.825), (-25.885,7.205,-25.735,7.355), (-3.615,7.205,-3.465,7.355)])
R(sky130_hilas_ta2cell_1fg, met2_pin, [(-26.17,1.9,-26.09,2.08), (1.82,3.92,1.93,4.14), (-2.52,4.51,-2.2,4.75), (1.82,4.74,1.93,4.97), (-26.17,6.77,-26.09,6.95), (-2.6,7.18,-2.29,7.42)])
R(sky130_hilas_ta2cell_1fg, met2, [(-17.75,1.45,-17.43,1.6), (-11.95,1.45,-11.63,1.6), (-17.75,1.6,-1.24,1.75), (-1.56,1.75,-1.24,1.9), (-26.17,1.9,-26.09,2.08), (-11.37,2.4,-6.61,2.46), (-11.37,2.46,-1.13,2.47), (-11.37,2.47,-1,2.62), (-11.37,2.62,-11.15,2.77), (-7,2.62,-1,2.67), (-11.37,2.77,-11.14,3.37), (-8.11,2.89,-7.82,2.9), (-8.11,2.9,-5.22,3.12), (-8.11,3.12,-7.82,4.29), (-3,3.26,-0.99,3.47), (-14.65,3.37,-11.14,3.56), (-3,3.47,-2.79,3.61), (-6.92,3.61,-2.79,3.82), (-6.92,3.82,-6.66,4.46), (1.82,3.92,1.93,4.14), (-14.65,4.29,-7.82,4.54), (-6.92,4.46,-6.67,4.5), (-6.89,4.5,-6.67,5.22), (-2.52,4.51,-2.2,4.75), (-8.07,4.54,-7.85,4.55), (1.82,4.74,1.93,4.97), (-14.66,5.22,-6.67,5.42), (-1.45,5.3,-1.25,5.31), (-1.47,5.31,-1.25,5.64), (-1.47,5.64,-1.27,5.65), (-3.28,5.71,-2.93,5.93), (-1.54,6.21,-1.27,6.55), (-1.49,6.55,-1.27,6.57), (-26.17,6.77,-26.09,6.95), (-25.97,7.13,-3.38,7.31), (-2.6,7.18,-2.29,7.42), (-25.97,7.31,-25.65,7.43), (-3.7,7.31,-3.38,7.43)])
R(sky130_hilas_ta2cell_1fg, hvi, [(-3.2,7.44,-1.86,7.45)])
R(sky130_hilas_ta2cell_1fg, hvntm, [(-15.015,3.295,-14.355,6.135)])
sky130_hilas_ta2cell_1fg.add(gdstk.Reference(sky130_hilas_dualtacore0, (0.38,1.81)))
sky130_hilas_ta2cell_1fg.add(gdstk.Reference(c_sky130_hilas_ptransistor, (-4.54,3.05), x_reflection=True))
sky130_hilas_ta2cell_1fg.add(gdstk.Reference(sky130_hilas_fgbias2x1ce, (-10.77,5.22)))
sky130_hilas_ta2cell_1fg.add(gdstk.Reference(sky130_hilas_fgtrans2x1c, (-18.6,5.22), rotation=pi, x_reflection=True))
sky130_hilas_ta2cell_1fg.add(gdstk.Label('VTUN', (-15.2,7.415), layer=68, texttype=5))
sky130_hilas_ta2cell_1fg.add(gdstk.Label('VTUN', (-14.17,7.415), layer=68, texttype=16))
sky130_hilas_ta2cell_1fg.add(gdstk.Label('PROG', (-22.545,7.42), layer=68, texttype=16))
sky130_hilas_ta2cell_1fg.add(gdstk.Label('GATE1', (-10.565,7.41), layer=68, texttype=16))
sky130_hilas_ta2cell_1fg.add(gdstk.Label('VIN11', (-23.425,7.395), layer=68, texttype=16))
sky130_hilas_ta2cell_1fg.add(gdstk.Label('VINJ', (-25.73,7.42), layer=68, texttype=16))
sky130_hilas_ta2cell_1fg.add(gdstk.Label('VINJ', (-3.58,7.41), layer=68, texttype=16))
sky130_hilas_ta2cell_1fg.add(gdstk.Label('VINJ', (-3.58,1.425), layer=68, texttype=16))
sky130_hilas_ta2cell_1fg.add(gdstk.Label('VIN22', (-2.445,7.3), layer=69, texttype=16))
sky130_hilas_ta2cell_1fg.add(gdstk.Label('VIN21', (-2.36,4.63), layer=69, texttype=16))
sky130_hilas_ta2cell_1fg.add(gdstk.Label('VPWR', (0.77,7.42), layer=68, texttype=16))
sky130_hilas_ta2cell_1fg.add(gdstk.Label('VPWR', (0.775,1.43), layer=68, texttype=16))
sky130_hilas_ta2cell_1fg.add(gdstk.Label('VGND', (0.14,7.42), layer=68, texttype=16))
sky130_hilas_ta2cell_1fg.add(gdstk.Label('VGND', (0.14,1.43), layer=68, texttype=16))
sky130_hilas_ta2cell_1fg.add(gdstk.Label('OUTPUT2', (1.875,4.03), layer=69, texttype=16))
sky130_hilas_ta2cell_1fg.add(gdstk.Label('OUTPUT1', (1.875,4.855), layer=69, texttype=16))
sky130_hilas_ta2cell_1fg.add(gdstk.Label('GATESEL1', (-25.305,7.42), layer=68, texttype=16))
sky130_hilas_ta2cell_1fg.add(gdstk.Label('GATESEL2', (-4.065,1.425), layer=68, texttype=16))
sky130_hilas_ta2cell_1fg.add(gdstk.Label('GATESEL2', (-4.065,7.41), layer=68, texttype=16))
sky130_hilas_ta2cell_1fg.add(gdstk.Label('DRAIN1', (-26.13,6.86), layer=69, texttype=16))
sky130_hilas_ta2cell_1fg.add(gdstk.Label('DRAIN2', (-26.13,1.99), layer=69, texttype=16))
sky130_hilas_ta2cell_1fg.add(gdstk.Label('VIN12', (-23.405,1.47), layer=68, texttype=16))
sky130_hilas_ta2cell_1fg.add(gdstk.Label('GATE2', (-22.965,7.41), layer=68, texttype=16))
sky130_hilas_ta2cell_1fg.add(gdstk.Label('RUN', (-21.48,7.415), layer=68, texttype=16))

lib.write_gds('sky130_hilas_TA2Cell_1FG_Strong.gds')
